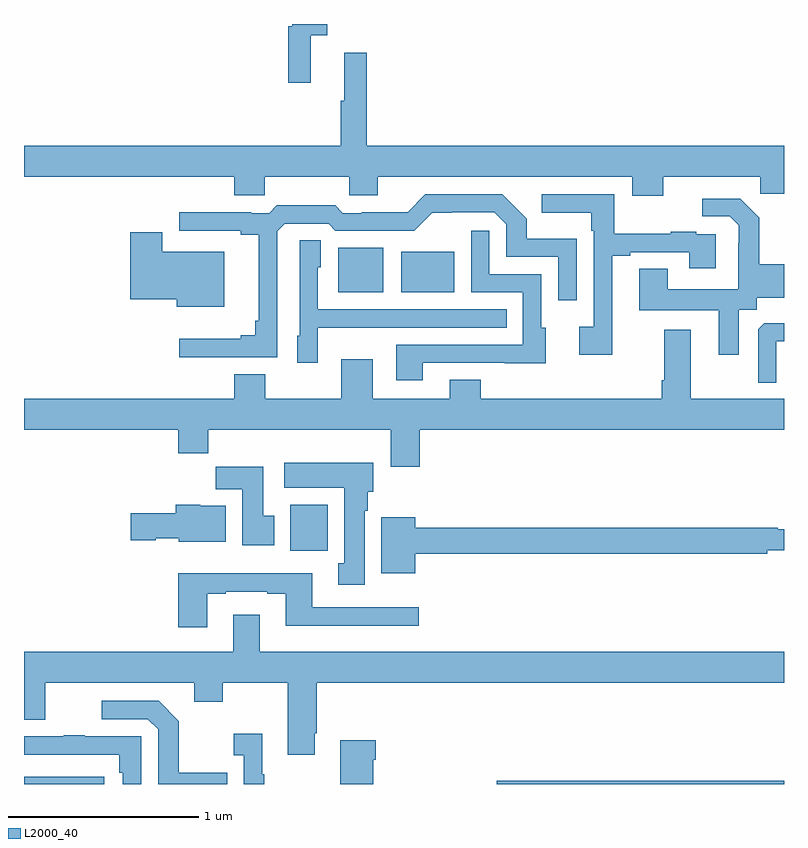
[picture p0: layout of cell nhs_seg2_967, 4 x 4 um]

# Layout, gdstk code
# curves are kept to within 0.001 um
import gdstk
lib = gdstk.Library(unit=1e-6, precision=1e-09)
def R(c, l, rs):  # rectangles x0, y0, x1, y1
    for r in rs: c.add(gdstk.rectangle(r[:2], r[2:], *l))
def P(c, l, *ps):  # polygons
    for p in ps: c.add(gdstk.Polygon(p, *l))
L2000_40 = (2000, 40)

nhs_seg2_967 = lib.new_cell('nhs_seg2_967')
R(nhs_seg2_967, L2000_40, [(161,617.8,161.422,617.838), (163.487,617.8,165,617.816), (162.401,619.028,162.598,619.27), (162.653,620.387,162.892,620.623), (162.986,620.387,163.264,620.602)])
P(nhs_seg2_967, L2000_40, [(162.509,621.74),(162.595,621.74),(162.595,621.8),(162.411,621.8),(162.411,621.788),(162.391,621.788),(162.391,621.492),(162.509,621.492)],
  [(164.365,620.996),(164.875,620.996),(164.875,620.906),(165,620.906),(165,621.16),(162.803,621.16),(162.803,621.649),(162.686,621.649),(162.686,621.396),(162.667,621.396),(162.667,621.16),(161,621.16),(161,620.996),(162.107,620.996),(162.107,620.898),(162.267,620.898),(162.267,620.996),(162.712,620.996),(162.712,620.898),(162.862,620.898),(162.862,620.996),(164.201,620.996),(164.201,620.897),(164.365,620.897)],
  [(164.095,620.58),(164.191,620.58),(164.191,620.598),(164.501,620.598),(164.501,620.514),(164.641,620.514),(164.641,620.694),(164.537,620.694),(164.537,620.707),(164.405,620.707),(164.405,620.696),(164.107,620.696),(164.107,620.904),(163.725,620.904),(163.725,620.807),(163.986,620.807),(163.986,620.711),(163.998,620.711),(163.998,620.206),(163.923,620.206),(163.923,620.058),(164.095,620.058)],
  [(162.333,620.709),(162.372,620.748),(162.603,620.748),(162.639,620.712),(163.053,620.712),(163.148,620.807),(163.476,620.808),(163.539,620.745),(163.539,620.574),(163.812,620.574),(163.812,620.346),(163.908,620.346),(163.908,620.671),(163.647,620.671),(163.647,620.774),(163.516,620.904),(163.113,620.904),(163.019,620.81),(162.778,620.81),(162.778,620.805),(162.678,620.805),(162.639,620.845),(162.331,620.845),(162.291,620.805),(162.197,620.805),(162.197,620.81),(161.817,620.81),(161.817,620.712),(162.14,620.712),(162.14,620.69),(162.236,620.69),(162.236,620.239),(162.217,620.239),(162.217,620.162),(162.14,620.162),(162.14,620.143),(161.817,620.143),(161.817,620.046),(162.333,620.046)],
  [(164.761,620.296),(164.856,620.296),(164.856,620.36),(165,620.36),(165,620.536),(164.871,620.536),(164.871,620.781),(164.771,620.881),(164.571,620.881),(164.571,620.787),(164.715,620.787),(164.762,620.74),(164.762,620.645),(164.76,620.645),(164.76,620.404),(164.389,620.404),(164.389,620.513),(164.237,620.513),(164.237,620.294),(164.657,620.294),(164.657,620.058),(164.761,620.058)],
  [(163.099,620.016),(163.529,620.016),(163.529,620.015),(163.747,620.015),(163.747,620.202),(163.722,620.202),(163.722,620.484),(163.449,620.484),(163.449,620.713),(163.353,620.713),(163.353,620.388),(163.626,620.388),(163.626,620.112),(162.959,620.112),(162.959,619.926),(163.099,619.926)],
  [(162.055,620.602),(161.728,620.602),(161.728,620.704),(161.558,620.704),(161.558,620.351),(161.804,620.351),(161.804,620.312),(162.055,620.312)],
  [(162.546,620.201),(162.863,620.201),(162.863,620.202),(163.541,620.202),(163.541,620.298),(162.546,620.298),(162.546,620.52),(162.562,620.52),(162.562,620.663),(162.45,620.663),(162.45,620.16),(162.437,620.16),(162.437,620.016),(162.546,620.016)],
  [(164.958,620.13),(165,620.13),(165,620.225),(164.897,620.225),(164.865,620.193),(164.865,619.913),(164.958,619.913)],
  [(163.082,619.664),(165,619.664),(165,619.828),(164.509,619.828),(164.509,620.191),(164.369,620.191),(164.369,619.924),(164.357,619.924),(164.357,619.828),(163.405,619.828),(163.405,619.927),(163.241,619.927),(163.241,619.828),(162.835,619.828),(162.835,620.035),(162.671,620.035),(162.671,619.828),(162.271,619.828),(162.271,619.957),(162.107,619.957),(162.107,619.828),(161,619.828),(161,619.664),(161.813,619.664),(161.813,619.54),(161.969,619.54),(161.969,619.664),(162.929,619.664),(162.929,619.47),(163.082,619.47)],
  [(162.793,619.238),(162.808,619.238),(162.808,619.338),(162.838,619.338),(162.838,619.492),(162.369,619.492),(162.369,619.358),(162.686,619.358),(162.686,618.962),(162.653,618.962),(162.653,618.849),(162.793,618.849)],
  [(162.316,619.212),(162.259,619.212),(162.259,619.471),(162.01,619.471),(162.01,619.352),(162.149,619.352),(162.149,619.056),(162.316,619.056)],
  [(162.061,619.264),(161.928,619.264),(161.928,619.27),(161.798,619.27),(161.798,619.224),(161.562,619.224),(161.562,619.082),(161.694,619.082),(161.694,619.094),(161.814,619.094),(161.814,619.076),(162.061,619.076)],
  [(163.06,619.012),(164.912,619.012),(164.912,619.031),(165,619.031),(165,619.141),(164.966,619.141),(164.966,619.148),(163.06,619.148),(163.06,619.204),(162.881,619.204),(162.881,618.908),(163.06,618.908)],
  [(161.965,618.801),(162.061,618.801),(162.061,618.813),(162.281,618.813),(162.281,618.801),(162.377,618.801),(162.377,618.632),(163.078,618.632),(163.078,618.729),(162.517,618.729),(162.517,618.91),(161.813,618.91),(161.813,618.624),(161.965,618.624)],
  [(162.529,618.067),(162.542,618.067),(162.542,618.332),(165,618.332),(165,618.496),(162.241,618.496),(162.241,618.691),(162.101,618.691),(162.101,618.496),(161,618.496),(161,618.138),(161.113,618.138),(161.113,618.332),(161.897,618.332),(161.897,618.233),(162.045,618.233),(162.045,618.332),(162.389,618.332),(162.389,617.955),(162.529,617.955)],
  [(162.071,617.859),(161.815,617.859),(161.815,618.131),(161.709,618.237),(161.409,618.237),(161.409,618.141),(161.652,618.141),(161.706,618.087),(161.706,617.8),(162.071,617.8)],
  [(162.265,617.851),(162.253,617.851),(162.253,618.064),(162.105,618.064),(162.105,617.951),(162.156,617.951),(162.156,617.8),(162.265,617.8)],
  [(161.616,618.051),(161.321,618.051),(161.321,618.056),(161.209,618.056),(161.209,618.051),(161,618.051),(161,617.955),(161.5,617.955),(161.5,617.858),(161.52,617.858),(161.52,617.8),(161.616,617.8)],
  [(162.838,617.927),(162.851,617.927),(162.851,618.031),(162.665,618.031),(162.665,617.8),(162.838,617.8)])

lib.write_gds('nhs_seg2_967.gds')
